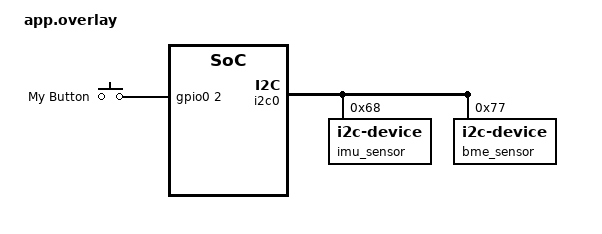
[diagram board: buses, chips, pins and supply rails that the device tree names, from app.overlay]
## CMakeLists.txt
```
#
# SPDX-License-Identifier: LicenseRef-Nordic-5-Clause
#

cmake_minimum_required(VERSION 3.20.0)

find_package(Zephyr REQUIRED HINTS $ENV{ZEPHYR_BASE})
project(peripheral_uart)

# NORDIC SDK APP START
target_include_directories(app PRIVATE "src/app_ble")
target_include_directories(app PRIVATE "src/sensors")
target_include_directories(app PRIVATE "src/sensors/BME280")
target_include_directories(app PRIVATE "src/sensors/sensor_io")

target_sources(app PRIVATE
  src/main.c
  src/app_ble/ble_manager.c
  src/app_ble/ble_manager.h
  src/sensors/gy_521.c
  src/sensors/gy_521.h
  src/sensors/BME280/bme_280.c
  src/sensors/BME280/bme_280.h
  src/sensors/BME280/bme_280_config.h
  src/sensors/sensor_io/sensor_io.c
  src/sensors/sensor_io/sensor_io.h
)

# NORDIC SDK APP END
```

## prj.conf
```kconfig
#
# Copyright (c) 2018 Nordic Semiconductor
#
# SPDX-License-Identifier: LicenseRef-Nordic-5-Clause
#

# Enable I2C driver
CONFIG_I2C=y
#CONFIG_I2C_CALLBACK=y
#CONFIG_I2C_NRFX=y
#CONFIG_NRFX_TWIM0=y

# Enable the UART driver
CONFIG_UART_ASYNC_API=y
CONFIG_NRFX_UARTE0=y
CONFIG_SERIAL=y

CONFIG_GPIO=y

# Make sure printk is printing to the UART console
CONFIG_CONSOLE=y
CONFIG_UART_CONSOLE=y

CONFIG_HEAP_MEM_POOL_SIZE=2048

CONFIG_BT=y
CONFIG_BT_PERIPHERAL=y
CONFIG_BT_DEVICE_NAME="Nordic_UART_Service"
CONFIG_BT_MAX_CONN=1
CONFIG_BT_MAX_PAIRED=1

# Enable the NUS service
CONFIG_BT_NUS=y

# Enable bonding
CONFIG_BT_SETTINGS=y
CONFIG_FLASH=y
CONFIG_FLASH_PAGE_LAYOUT=y
CONFIG_FLASH_MAP=y

# Enable DK LED and Buttons library
CONFIG_DK_LIBRARY=y

CONFIG_SYSTEM_WORKQUEUE_STACK_SIZE=2048
# Config logger
CONFIG_LOG=y
CONFIG_USE_SEGGER_RTT=y
CONFIG_LOG_BACKEND_RTT=y
CONFIG_LOG_BACKEND_UART=n
CONFIG_LOG_PRINTK=n

CONFIG_ASSERT=y
```

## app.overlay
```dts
/*
 * Copyright (c) 2022 Nordic Semiconductor ASA
 *
 * SPDX-License-Identifier: LicenseRef-Nordic-5-Clause
 */

/ {
	chosen {
		nordic,nus-uart = &uart0;
	};

    input_pins {
		compatible = "gpio-keys";
    	imu_ready_pin: imu_ready_pin_0 {
			gpios = <&gpio0 2 (GPIO_PULL_UP | GPIO_ACTIVE_HIGH)>; // Pin 2, pull-up, active low
			label = "My Button";
    	};
	};
};

&i2c0 {
	imu_sensor: imu@68 {
		compatible = "i2c-device";
		reg = <0x68>;
		status = "okay";
	};
	bme_sensor: bme@77 {
		compatible = "i2c-device";
		reg = <0x77>;
		status = "okay";
	};
};
```

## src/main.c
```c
/*
 * Copyright (c) 2018 Nordic Semiconductor ASA
 *
 * SPDX-License-Identifier: LicenseRef-Nordic-5-Clause
 */

/** @file
 *  @brief Nordic UART Bridge Service (NUS) sample
 */

#include "ble_manager.h"
#include "gy_521.h"
#include "bme_280.h"

#include <uart_async_adapter.h>

#include <zephyr/types.h>
#include <zephyr/kernel.h>
#include <zephyr/drivers/uart.h>
#include <zephyr/usb/usb_device.h>

#include <zephyr/device.h>
#include <zephyr/devicetree.h>
#include <soc.h>

#include <zephyr/bluetooth/bluetooth.h>
#include <zephyr/bluetooth/uuid.h>
#include <zephyr/bluetooth/gatt.h>
#include <zephyr/bluetooth/hci.h>

#include <bluetooth/services/nus.h>

#include <dk_buttons_and_leds.h>

#include <zephyr/settings/settings.h>

#include <stdio.h>
#include <string.h>

#include <zephyr/logging/log.h>

#define LOG_MODULE_NAME peripheral_uart
LOG_MODULE_REGISTER(LOG_MODULE_NAME);

#define STACKSIZE CONFIG_BT_NUS_THREAD_STACK_SIZE
#define PRIORITY 7

#define DEVICE_NAME CONFIG_BT_DEVICE_NAME
#define DEVICE_NAME_LEN	(sizeof(DEVICE_NAME) - 1)

#define RUN_STATUS_LED DK_LED1
#define RUN_LED_BLINK_INTERVAL 1000

#define CON_STATUS_LED DK_LED2

#define KEY_PASSKEY_ACCEPT DK_BTN1_MSK
#define KEY_PASSKEY_REJECT DK_BTN2_MSK

#define UART_BUF_SIZE CONFIG_BT_NUS_UART_BUFFER_SIZE
#define UART_WAIT_FOR_BUF_DELAY K_MSEC(50)
#define UART_WAIT_FOR_RX CONFIG_BT_NUS_UART_RX_WAIT_TIME

static K_SEM_DEFINE(ble_init_ok, 0, 1);
static K_FIFO_DEFINE(imu_fifo);
K_SEM_DEFINE(imu_status_sem, 1, 1);

static const struct device *uart = DEVICE_DT_GET(DT_CHOSEN(nordic_nus_uart));
static struct k_work_delayable uart_work;

struct uart_data_t {
	void *fifo_reserved;
	uint8_t data[UART_BUF_SIZE];
	uint16_t len;
};

static K_FIFO_DEFINE(fifo_uart_tx_data);
static K_FIFO_DEFINE(fifo_uart_rx_data);

#ifdef CONFIG_UART_ASYNC_ADAPTER
UART_ASYNC_ADAPTER_INST_DEFINE(async_adapter);
#else
#define async_adapter NULL
#endif

static void uart_cb(const struct device *dev, struct uart_event *evt, void *user_data)
{
	ARG_UNUSED(dev);

	static size_t aborted_len;
	struct uart_data_t *buf;
	static uint8_t *aborted_buf;
	static bool disable_req;

	switch (evt->type) {
	case UART_TX_DONE:
		LOG_DBG("UART_TX_DONE");
		if ((evt->data.tx.len == 0) ||
		    (!evt->data.tx.buf)) {
			return;
		}

		if (aborted_buf) {
			buf = CONTAINER_OF(aborted_buf, struct uart_data_t,
					   data[0]);
			aborted_buf = NULL;
			aborted_len = 0;
		} else {
			buf = CONTAINER_OF(evt->data.tx.buf, struct uart_data_t,
					   data[0]);
		}

		k_free(buf);

		buf = k_fifo_get(&fifo_uart_tx_data, K_NO_WAIT);
		if (!buf) {
			return;
		}

		if (uart_tx(uart, buf->data, buf->len, SYS_FOREVER_MS)) {
			LOG_WRN("Failed to send data over UART");
		}

		break;

	case UART_RX_RDY:
		LOG_DBG("UART_RX_RDY");
		buf = CONTAINER_OF(evt->data.rx.buf, struct uart_data_t, data[0]);
		buf->len += evt->data.rx.len;

		if (disable_req) {
			return;
		}

		if ((evt->data.rx.buf[buf->len - 1] == '\n') ||
		    (evt->data.rx.buf[buf->len - 1] == '\r')) {
			disable_req = true;
			uart_rx_disable(uart);
		}

		break;

	case UART_RX_DISABLED:
		LOG_DBG("UART_RX_DISABLED");
		disable_req = false;

		buf = k_malloc(sizeof(*buf));
		if (buf) {
			buf->len = 0;
		} else {
			LOG_WRN("Not able to allocate UART receive buffer");
			k_work_reschedule(&uart_work, UART_WAIT_FOR_BUF_DELAY);
			return;
		}

		uart_rx_enable(uart, buf->data, sizeof(buf->data),
			       UART_WAIT_FOR_RX);

		break;

	case UART_RX_BUF_REQUEST:
		LOG_DBG("UART_RX_BUF_REQUEST");
		buf = k_malloc(sizeof(*buf));
		if (buf) {
			buf->len = 0;
			uart_rx_buf_rsp(uart, buf->data, sizeof(buf->data));
		} else {
			LOG_WRN("Not able to allocate UART receive buffer");
		}

		break;

	case UART_RX_BUF_RELEASED:
		LOG_DBG("UART_RX_BUF_RELEASED");
		buf = CONTAINER_OF(evt->data.rx_buf.buf, struct uart_data_t,
				   data[0]);

		if (buf->len > 0) {
			k_fifo_put(&fifo_uart_rx_data, buf);
		} else {
			k_free(buf);
		}

		break;

	case UART_TX_ABORTED:
		LOG_DBG("UART_TX_ABORTED");
		if (!aborted_buf) {
			aborted_buf = (uint8_t *)evt->data.tx.buf;
		}

		aborted_len += evt->data.tx.len;
		buf = CONTAINER_OF((void *)aborted_buf, struct uart_data_t,
				   data);

		uart_tx(uart, &buf->data[aborted_len],
			buf->len - aborted_len, SYS_FOREVER_MS);

		break;

	default:
		break;
	}
}

static void uart_work_handler(struct k_work *item)
{
	struct uart_data_t *buf;

	buf = k_malloc(sizeof(*buf));
	if (buf) {
		buf->len = 0;
	} else {
		LOG_WRN("Not able to allocate UART receive buffer");
		k_work_reschedule(&uart_work, UART_WAIT_FOR_BUF_DELAY);
		return;
	}

	uart_rx_enable(uart, buf->data, sizeof(buf->data), UART_WAIT_FOR_RX);
}

static bool uart_test_async_api(const struct device *dev)
{
	const struct uart_driver_api *api =
			(const struct uart_driver_api *)dev->api;

	return (api->callback_set != NULL);
}

static int uart_init(void)
{
	int err;
	int pos;
	struct uart_data_t *rx;
	struct uart_data_t *tx;

	if (!device_is_ready(uart)) {
		return -ENODEV;
	}

	if (IS_ENABLED(CONFIG_USB_DEVICE_STACK)) {
		err = usb_enable(NULL);
		if (err && (err != -EALREADY)) {
			LOG_ERR("Failed to enable USB");
			return err;
		}
	}

	rx = k_malloc(sizeof(*rx));
	if (rx) {
		rx->len = 0;
	} else {
		return -ENOMEM;
	}

	k_work_init_delayable(&uart_work, uart_work_handler);


	if (IS_ENABLED(CONFIG_UART_ASYNC_ADAPTER) && !uart_test_async_api(uart)) {
		/* Implement API adapter */
		uart_async_adapter_init(async_adapter, uart);
		uart = async_adapter;
	}

	err = uart_callback_set(uart, uart_cb, NULL);
	if (err) {
		k_free(rx);
		LOG_ERR("Cannot initialize UART callback");
		return err;
	}

	if (IS_ENABLED(CONFIG_UART_LINE_CTRL)) {
		LOG_INF("Wait for DTR");
		while (true) {
			uint32_t dtr = 0;

			uart_line_ctrl_get(uart, UART_LINE_CTRL_DTR, &dtr);
			if (dtr) {
				break;
			}
			/* Give CPU resources to low priority threads. */
			k_sleep(K_MSEC(100));
		}
		LOG_INF("DTR set");
		err = uart_line_ctrl_set(uart, UART_LINE_CTRL_DCD, 1);
		if (err) {
			LOG_WRN("Failed to set DCD, ret code %d", err);
		}
		err = uart_line_ctrl_set(uart, UART_LINE_CTRL_DSR, 1);
		if (err) {
			LOG_WRN("Failed to set DSR, ret code %d", err);
		}
	}

	tx = k_malloc(sizeof(*tx));

	if (tx) {
		pos = snprintf(tx->data, sizeof(tx->data),
			       "Starting Nordic UART service sample\r\n");

		if ((pos < 0) || (pos >= sizeof(tx->data))) {
			k_free(rx);
			k_free(tx);
			LOG_ERR("snprintf returned %d", pos);
			return -ENOMEM;
		}

		tx->len = pos;
	} else {
		k_free(rx);
		return -ENOMEM;
	}

	err = uart_tx(uart, tx->data, tx->len, SYS_FOREVER_MS);
	if (err) {
		k_free(rx);
		k_free(tx);
		LOG_ERR("Cannot display welcome message (err: %d)", err);
		return err;
	}

	err = uart_rx_enable(uart, rx->data, sizeof(rx->data), UART_WAIT_FOR_RX);
	if (err) {
		LOG_ERR("Cannot enable uart reception (err: %d)", err);
		/* Free the rx buffer only because the tx buffer will be handled in the callback */
		k_free(rx);
	}

	return err;
}

static void bt_receive_cb(struct bt_conn *conn, const uint8_t *const data,
			  uint16_t len)
{
	int err;
	char addr[BT_ADDR_LE_STR_LEN] = {0};

	bt_addr_le_to_str(bt_conn_get_dst(conn), addr, ARRAY_SIZE(addr));

	LOG_INF("Received data from: %s", addr);

	for (uint16_t pos = 0; pos != len;) {
		struct uart_data_t *tx = k_malloc(sizeof(*tx));

		if (!tx) {
			LOG_WRN("Not able to allocate UART send data buffer");
			return;
		}

		/* Keep the last byte of TX buffer for potential LF char. */
		size_t tx_data_size = sizeof(tx->data) - 1;

		if ((len - pos) > tx_data_size) {
			tx->len = tx_data_size;
		} else {
			tx->len = (len - pos);
		}

		memcpy(tx->data, &data[pos], tx->len);

		pos += tx->len;

		/* Append the LF character when the CR character triggered
		 * transmission from the peer.
		 */
		if ((pos == len) && (data[len - 1] == '\r')) {
			tx->data[tx->len] = '\n';
			tx->len++;
		}

		err = uart_tx(uart, tx->data, tx->len, SYS_FOREVER_MS);
		if (err) {
			k_fifo_put(&fifo_uart_tx_data, tx);
		}
	}
}

static struct bt_nus_cb nus_cb = {
	.received = bt_receive_cb,
};

void error(void)
{
	dk_set_leds_state(DK_ALL_LEDS_MSK, DK_NO_LEDS_MSK);

	while (true) {
		/* Spin for ever */
		k_sleep(K_MSEC(1000));
	}
}

#ifdef CONFIG_BT_NUS_SECURITY_ENABLED

void button_changed(uint32_t button_state, uint32_t has_changed)
{
	uint32_t buttons = button_state & has_changed;

	if (authorized_conn_exists()) {
		if (buttons & KEY_PASSKEY_ACCEPT) {
			num_comp_reply(true);
		}

		if (buttons & KEY_PASSKEY_REJECT) {
			num_comp_reply(false);
		}
	}
}
#endif /* CONFIG_BT_NUS_SECURITY_ENABLED */

static void configure_gpio(void)
{
	int err;

#ifdef CONFIG_BT_NUS_SECURITY_ENABLED
	err = dk_buttons_init(button_changed);
	if (err) {
		LOG_ERR("Cannot init buttons (err: %d)", err);
	}
#endif /* CONFIG_BT_NUS_SECURITY_ENABLED */

	err = dk_leds_init();
	if (err) {
		LOG_ERR("Cannot init LEDs (err: %d)", err);
	}
}

int main(void)
{
	int blink_status = 0;
	int err = 0;

	configure_gpio();

	err = uart_init();
	if (err) {
		error();
	}

	if(register_bt_cbs())
	{	return 0; }

	err = bt_enable(NULL);
	if (err) {
		error();
	}

	k_sem_give(&ble_init_ok);

	if (IS_ENABLED(CONFIG_SETTINGS)) {
		settings_load();
	}

	err = bt_nus_init(&nus_cb);
	if (err) {
		LOG_ERR("Failed to initialize UART service (err: %d)", err);
		return 0;
	}

	advertising_start();

	for (;;) {
		dk_set_led(RUN_STATUS_LED, (++blink_status) % 2);
		k_sleep(K_MSEC(RUN_LED_BLINK_INTERVAL));
	}
}

static void mpu_data_rdy(const struct device *gpiob, struct gpio_callback *cb, gpio_port_pins_t pins)
{
	k_sem_give(&imu_status_sem);
}

void imu_read(void)
{
	int err = 0;
	MPU_conf_t imu_config_params;
	BmeConfig_s bme_config_params = 
	{
		.mode = BmeModeNormal,
		.humiditySamplingSelection = BmeSampling_2,
		.pressureSamplingSelection = BmeSampling_2,
		.temperatureSamplingSelection = BmeSampling_2,
		.standByTime = BmeStandByTime_10ms,
		.filterCoefficient = BmeIIR_FilterOff
	};

	int32_t bme_temperature_c, bme_pressure_hPa;
	int32_t relative_humidity;

	imu_config_params.accel_setting = MPU6050_Accelerometer_8G;
	imu_config_params.gyro_setting = MPU6050_Gyroscope_1000_deg;
	imu_config_params.sampling_rate = MPU6050_DataRate_100Hz;

    err = init_MPU6050(&imu_config_params, mpu_data_rdy);
	if(err){
		LOG_ERR("mpu6050_setup failed. returned: %d", err);
	}

	err = bme280_setup_device(&bme_config_params);
	if(err){
		printk("BME280 failed to setup. returned: %d\n", err);
	}

	MPU6050_t imu_data;
	imu_data.Accel_X_RAW = 0; imu_data.Accel_Y_RAW = 0; imu_data.Accel_Z_RAW = 0;
	imu_data.Gyro_X_RAW = 0; imu_data.Gyro_Y_RAW = 0; imu_data.Gyro_Z_RAW = 0;
    
	size_t size;
	struct uart_data_t* mem_ptr;

	char imuAccelStr[75], imuGyroStr[75], bmeStr[75], imuBleData[40];
	struct uart_data_t uartBuf = { 0 };
	int bleDataSize;//, plen, loc;

	uint32_t counter = 0;

	printk("Entering imu thread while loop.\n");

	while(1)
	{
		
		k_sem_take(&imu_status_sem, K_FOREVER);

		counter++;

		MPU_read_all_data(&imu_data);
		bme280_read_sensor_sync();
		bme_temperature_c = bme280_get_temperature()/100; 
		relative_humidity = bme280_get_humidity()/1024;
		bme_pressure_hPa = bme280_get_pressure()/10000;

		if( (counter % 100) == 0)
		{
			counter = 0;

			snprintf(imuAccelStr, 75, "Accel Measurements: Ax = %d | Ay = %d | Az = %d", imu_data.Accel_X_RAW, imu_data.Accel_Y_RAW, imu_data.Accel_Z_RAW);
			snprintf(imuGyroStr, 75,  "Gyro  Measurements: Gx = %d | Gy = %d | Gz = %d", imu_data.Gyro_X_RAW, imu_data.Gyro_Y_RAW, imu_data.Gyro_Z_RAW);
			snprintf(bmeStr, 75, "BME: T = %d | P = %d | H = %d", bme_temperature_c, bme_pressure_hPa, relative_humidity);
			bleDataSize = snprintf(imuBleData, 40, "T=%dC, P=%dhPa, H=%dRH\r\n", bme_temperature_c, bme_pressure_hPa, relative_humidity);

			memcpy(uartBuf.data, imuBleData, bleDataSize);
			uartBuf.len = bleDataSize;

			LOG_INF("%s", imuAccelStr);
			LOG_INF("%s", imuGyroStr);
			LOG_INF("%s", bmeStr);
			LOG_INF("Str sending over BLE: %s", uartBuf.data);

			size = sizeof(uartBuf);
			mem_ptr = k_malloc(size);

			//__ASSERT_NO_MSG(mem_ptr != 0);

			memcpy(mem_ptr, &uartBuf, size);
			k_fifo_put(&fifo_uart_rx_data, mem_ptr);
		}

		
		
	}
}
K_THREAD_DEFINE(sensor_read_id, STACKSIZE, imu_read, NULL, NULL, NULL, PRIORITY, 0, 0);	



void ble_write_thread(void)
{
	/* Don't go any further until BLE is initialized */
	k_sem_take(&ble_init_ok, K_FOREVER);
	struct uart_data_t nus_data = {
		.len = 0,
	};

	for (;;) {
		/* Wait indefinitely for data to be sent over bluetooth */
		struct uart_data_t* buf = (struct uart_data_t*) k_fifo_get(&fifo_uart_rx_data, K_FOREVER);
		
		int plen = MIN(sizeof(nus_data.data) - nus_data.len, buf->len);
		int loc = 0;

		LOG_INF("Recieved data to send over BLE: %s", buf->data);

		while (plen > 0) {
			memcpy(&nus_data.data[nus_data.len], &buf->data[loc], plen);
			nus_data.len += plen;
			loc += plen;

			if (nus_data.len >= sizeof(nus_data.data) ||
			   (nus_data.data[nus_data.len - 1] == '\n') ||
			   (nus_data.data[nus_data.len - 1] == '\r')) {
				if (bt_nus_send(NULL, nus_data.data, nus_data.len)) {
					LOG_WRN("Failed to send data over BLE connection");
				}
				nus_data.len = 0;
			}

			plen = MIN(sizeof(nus_data.data), buf->len - loc);
		}

		k_free(buf);
	}
}


K_THREAD_DEFINE(ble_write_thread_id, STACKSIZE, ble_write_thread, NULL, NULL,
		NULL, PRIORITY, 0, 0);
```
